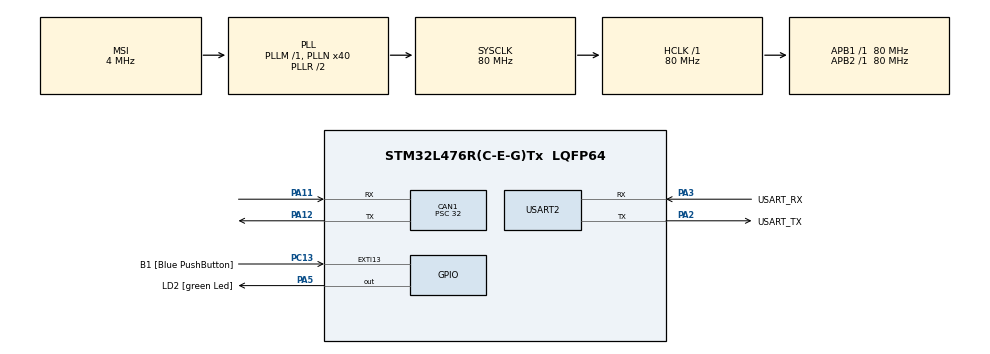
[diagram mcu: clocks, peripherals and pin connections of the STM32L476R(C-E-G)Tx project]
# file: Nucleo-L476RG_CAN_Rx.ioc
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CAN1.BS1=CAN_BS1_2TQ
CAN1.BS2=CAN_BS2_2TQ
CAN1.CalculateBaudRate=500000
CAN1.CalculateTimeBit=2000
CAN1.CalculateTimeQuantum=400.0
CAN1.Prescaler=32
Mcu.Family=STM32L4
Mcu.Name=STM32L476R(C-E-G)Tx
Mcu.Package=LQFP64
NVIC.CAN1_RX1_IRQn=true\:0\:0\:false\:false\:true\:true\:true\:true
NVIC.PriorityGroup=NVIC_PRIORITYGROUP_4
PA11.Mode=CAN_Activate
PA11.Signal=CAN1_RX
PA12.Mode=CAN_Activate
PA12.Signal=CAN1_TX
PA13\ (JTMS-SWDIO).GPIO_Label=TMS
PA13\ (JTMS-SWDIO).Mode=Serial_Wire
PA13\ (JTMS-SWDIO).Signal=SYS_JTMS-SWDIO
PA14\ (JTCK-SWCLK).GPIO_Label=TCK
PA14\ (JTCK-SWCLK).Mode=Serial_Wire
PA14\ (JTCK-SWCLK).Signal=SYS_JTCK-SWCLK
PA2.GPIO_Label=USART_TX
PA2.GPIO_Mode=GPIO_MODE_AF_PP
PA2.GPIO_PuPd=GPIO_NOPULL
PA2.GPIO_Speed=GPIO_SPEED_FREQ_VERY_HIGH
PA2.Mode=Asynchronous
PA2.Signal=USART2_TX
PA3.GPIO_Label=USART_RX
PA3.GPIO_Mode=GPIO_MODE_AF_PP
PA3.GPIO_PuPd=GPIO_NOPULL
PA3.GPIO_Speed=GPIO_SPEED_FREQ_VERY_HIGH
PA3.Mode=Asynchronous
PA3.Signal=USART2_RX
PA5.GPIO_Label=LD2 [green Led]
PA5.GPIO_ModeDefaultOutputPP=GPIO_MODE_OUTPUT_PP
PA5.GPIO_PuPd=GPIO_NOPULL
PA5.GPIO_Speed=GPIO_SPEED_FREQ_LOW
PA5.Signal=GPIO_Output
PB3\ (JTDO-TRACESWO).GPIO_Label=SWO
PB3\ (JTDO-TRACESWO).Signal=SYS_JTDO-SWO
PC13.GPIO_Label=B1 [Blue PushButton]
PC13.GPIO_ModeDefaultEXTI=GPIO_MODE_IT_FALLING
PC13.GPIO_PuPd=GPIO_NOPULL
PC13.Signal=GPXTI13
PC14-OSC32_IN\ (PC14).Mode=LSE-External-Oscillator
PC14-OSC32_IN\ (PC14).Signal=RCC_OSC32_IN
PC15-OSC32_OUT\ (PC15).Mode=LSE-External-Oscillator
PC15-OSC32_OUT\ (PC15).Signal=RCC_OSC32_OUT
PH0-OSC_IN\ (PH0).Signal=RCC_OSC_IN
PH1-OSC_OUT\ (PH1).Signal=RCC_OSC_OUT
ProjectManager.HeapSize=0x200
ProjectManager.StackSize=0x400
ProjectManager.TargetToolchain=STM32CubeIDE
RCC.ADCFreq_Value=16000000
RCC.AHBFreq_Value=80000000
RCC.APB1Freq_Value=80000000
RCC.APB1TimFreq_Value=80000000
RCC.APB2Freq_Value=80000000
RCC.APB2TimFreq_Value=80000000
RCC.CortexFreq_Value=80000000
RCC.HCLKFreq_Value=80000000
RCC.HSE_VALUE=8000000
RCC.HSI_VALUE=16000000
RCC.MSI_VALUE=4000000
RCC.PLLN=40
RCC.PREFETCH_ENABLE=1
RCC.SYSCLKFreq_VALUE=80000000
RCC.SYSCLKSource=RCC_SYSCLKSOURCE_PLLCLK
RCC.USBFreq_Value=16000000
RCC.VCOOutputFreq_Value=160000000
USART2.VirtualMode-Asynchronous=VM_ASYNC
board=NUCLEO-L476RG

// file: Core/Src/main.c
/* USER CODE BEGIN Header */
/**
  ******************************************************************************
  * @file           : main.c
  * @brief          : Main program body
  ******************************************************************************
  * @attention
  *
  * Copyright (c) 2024 STMicroelectronics.
  * All rights reserved.
  *
  * This software is licensed under terms that can be found in the LICENSE file
  * in the root directory of this software component.
  * If no LICENSE file comes with this software, it is provided AS-IS.
  *
  ******************************************************************************
  */
/* USER CODE END Header */
#include "main.h"

CAN_HandleTypeDef hcan1;

UART_HandleTypeDef huart2;

void SystemClock_Config(void);
static void MX_GPIO_Init(void);
static void MX_USART2_UART_Init(void);
static void MX_CAN1_Init(void);

/* USER CODE BEGIN 0 */

CAN_TxHeaderTypeDef TxHeader;
CAN_RxHeaderTypeDef RxHeader;

uint8_t TxData[8];
uint8_t RxData[8];

uint32_t TxMailbox;

int datacheck = 0;

void HAL_CAN_RxFifo1MsgPendingCallback(CAN_HandleTypeDef *hcan){
	HAL_CAN_GetRxMessage(hcan, CAN_RX_FIFO1, &RxHeader, RxData);
	if (RxHeader.DLC == 2){
		datacheck = 1;
	}
}

/* USER CODE END 0 */

int main(void)
{

  /* MCU Configuration--------------------------------------------------------*/

  /* Reset of all peripherals, Initializes the Flash interface and the Systick. */
  HAL_Init();

  /* Configure the system clock */
  SystemClock_Config();

  /* Initialize all configured peripherals */
  MX_GPIO_Init();
  MX_USART2_UART_Init();
  MX_CAN1_Init();
  /* USER CODE BEGIN 2 */

  HAL_CAN_Start(&hcan1);

  // Activate the notification
  HAL_CAN_ActivateNotification(&hcan1, CAN_IT_RX_FIFO1_MSG_PENDING);

  TxHeader.DLC = 2; // data length
  TxHeader.IDE = CAN_ID_STD;
  TxHeader.RTR = CAN_RTR_DATA;
  TxHeader.StdId = 0x103; // ID

  TxData[0] = 200; //ms delay
  TxData[1] = 20; //loop rep

  /* USER CODE END 2 */

  /* Infinite loop */
  while (1)
  {

    /* USER CODE BEGIN 3 */

	  HAL_Delay(1000);

	  if (datacheck){
		  // blink the LED
		  for (int i = 0; i<RxData[1]; i++){
//			  HAL_GPIO_WritePin(GPIOA, GPIO_PIN_5, 1);
			  HAL_GPIO_TogglePin(GPIOA, GPIO_PIN_5);
			  HAL_Delay(RxData[0]);
//			  HAL_GPIO_WritePin(GPIOA, GPIO_PIN_5, 0);
		  }

		  datacheck = 0;

//		  HAL_CAN_AddTxMessage(&hcan1, &TxHeader, TxData, &TxMailbox);
	  }
  }
  /* USER CODE END 3 */
}

void SystemClock_Config(void)
{
  RCC_OscInitTypeDef RCC_OscInitStruct = {0};
  RCC_ClkInitTypeDef RCC_ClkInitStruct = {0};

  /** Configure the main internal regulator output voltage
  */
  if (HAL_PWREx_ControlVoltageScaling(PWR_REGULATOR_VOLTAGE_SCALE1) != HAL_OK)
  {
    Error_Handler();
  }

  /** Configure LSE Drive Capability
  */
  HAL_PWR_EnableBkUpAccess();
  __HAL_RCC_LSEDRIVE_CONFIG(RCC_LSEDRIVE_LOW);

  /** Initializes the RCC Oscillators according to the specified parameters
  * in the RCC_OscInitTypeDef structure.
  */
  RCC_OscInitStruct.OscillatorType = RCC_OSCILLATORTYPE_LSE|RCC_OSCILLATORTYPE_MSI;
  RCC_OscInitStruct.LSEState = RCC_LSE_ON;
  RCC_OscInitStruct.MSIState = RCC_MSI_ON;
  RCC_OscInitStruct.MSICalibrationValue = 0;
  RCC_OscInitStruct.MSIClockRange = RCC_MSIRANGE_6;
  RCC_OscInitStruct.PLL.PLLState = RCC_PLL_ON;
  RCC_OscInitStruct.PLL.PLLSource = RCC_PLLSOURCE_MSI;
  RCC_OscInitStruct.PLL.PLLM = 1;
  RCC_OscInitStruct.PLL.PLLN = 40;
  RCC_OscInitStruct.PLL.PLLP = RCC_PLLP_DIV7;
  RCC_OscInitStruct.PLL.PLLQ = RCC_PLLQ_DIV2;
  RCC_OscInitStruct.PLL.PLLR = RCC_PLLR_DIV2;
  if (HAL_RCC_OscConfig(&RCC_OscInitStruct) != HAL_OK)
  {
    Error_Handler();
  }

  /** Initializes the CPU, AHB and APB buses clocks
  */
  RCC_ClkInitStruct.ClockType = RCC_CLOCKTYPE_HCLK|RCC_CLOCKTYPE_SYSCLK
                              |RCC_CLOCKTYPE_PCLK1|RCC_CLOCKTYPE_PCLK2;
  RCC_ClkInitStruct.SYSCLKSource = RCC_SYSCLKSOURCE_PLLCLK;
  RCC_ClkInitStruct.AHBCLKDivider = RCC_SYSCLK_DIV1;
  RCC_ClkInitStruct.APB1CLKDivider = RCC_HCLK_DIV1;
  RCC_ClkInitStruct.APB2CLKDivider = RCC_HCLK_DIV1;

  if (HAL_RCC_ClockConfig(&RCC_ClkInitStruct, FLASH_LATENCY_4) != HAL_OK)
  {
    Error_Handler();
  }

  /** Enable MSI Auto calibration
  */
  HAL_RCCEx_EnableMSIPLLMode();
}

static void MX_CAN1_Init(void)
{

  hcan1.Instance = CAN1;
  hcan1.Init.Prescaler = 32;
  hcan1.Init.Mode = CAN_MODE_NORMAL;
  hcan1.Init.SyncJumpWidth = CAN_SJW_1TQ;
  hcan1.Init.TimeSeg1 = CAN_BS1_2TQ;
  hcan1.Init.TimeSeg2 = CAN_BS2_2TQ;
  hcan1.Init.TimeTriggeredMode = DISABLE;
  hcan1.Init.AutoBusOff = DISABLE;
  hcan1.Init.AutoWakeUp = DISABLE;
  hcan1.Init.AutoRetransmission = DISABLE;
  hcan1.Init.ReceiveFifoLocked = DISABLE;
  hcan1.Init.TransmitFifoPriority = DISABLE;
  if (HAL_CAN_Init(&hcan1) != HAL_OK)
  {
    Error_Handler();
  }
  /* USER CODE BEGIN CAN1_Init 2 */

  CAN_FilterTypeDef canfilterconfig;

  canfilterconfig.FilterActivation = CAN_FILTER_ENABLE;
  canfilterconfig.FilterBank = 10;  // which filter bank to use from the assigned ones
  canfilterconfig.FilterFIFOAssignment = CAN_FILTER_FIFO1;
  canfilterconfig.FilterIdHigh = 0x446<<5; // ID of external MCU
  canfilterconfig.FilterIdLow = 0;
  canfilterconfig.FilterMaskIdHigh = 0x446<<5;
  canfilterconfig.FilterMaskIdLow = 0x0000;
  canfilterconfig.FilterMode = CAN_FILTERMODE_IDMASK;
  canfilterconfig.FilterScale = CAN_FILTERSCALE_32BIT;
  canfilterconfig.SlaveStartFilterBank = 0;  // doesn't matter in single CAN Controllers

  HAL_CAN_ConfigFilter(&hcan1, &canfilterconfig);

  /* USER CODE END CAN1_Init 2 */

}

static void MX_USART2_UART_Init(void)
{

  /* USER CODE BEGIN USART2_Init 0 */
//
  /* USER CODE END USART2_Init 0 */

  /* USER CODE BEGIN USART2_Init 1 */
//
  /* USER CODE END USART2_Init 1 */
  huart2.Instance = USART2;
  huart2.Init.BaudRate = 115200;
  huart2.Init.WordLength = UART_WORDLENGTH_8B;
  huart2.Init.StopBits = UART_STOPBITS_1;
  huart2.Init.Parity = UART_PARITY_NONE;
  huart2.Init.Mode = UART_MODE_TX_RX;
  huart2.Init.HwFlowCtl = UART_HWCONTROL_NONE;
  huart2.Init.OverSampling = UART_OVERSAMPLING_16;
  huart2.Init.OneBitSampling = UART_ONE_BIT_SAMPLE_DISABLE;
  huart2.AdvancedInit.AdvFeatureInit = UART_ADVFEATURE_NO_INIT;
  if (HAL_UART_Init(&huart2) != HAL_OK)
  {
    Error_Handler();
  }
  /* USER CODE BEGIN USART2_Init 2 */
//
  /* USER CODE END USART2_Init 2 */

}

static void MX_GPIO_Init(void)
{
  GPIO_InitTypeDef GPIO_InitStruct = {0};

  /* GPIO Ports Clock Enable */
  __HAL_RCC_GPIOC_CLK_ENABLE();
  __HAL_RCC_GPIOH_CLK_ENABLE();
  __HAL_RCC_GPIOA_CLK_ENABLE();
  __HAL_RCC_GPIOB_CLK_ENABLE();

  /*Configure GPIO pin Output Level */
  HAL_GPIO_WritePin(LD2_GPIO_Port, LD2_Pin, GPIO_PIN_RESET);

  /*Configure GPIO pin : B1_Pin */
  GPIO_InitStruct.Pin = B1_Pin;
  GPIO_InitStruct.Mode = GPIO_MODE_IT_FALLING;
  GPIO_InitStruct.Pull = GPIO_NOPULL;
  HAL_GPIO_Init(B1_GPIO_Port, &GPIO_InitStruct);

  /*Configure GPIO pin : LD2_Pin */
  GPIO_InitStruct.Pin = LD2_Pin;
  GPIO_InitStruct.Mode = GPIO_MODE_OUTPUT_PP;
  GPIO_InitStruct.Pull = GPIO_NOPULL;
  GPIO_InitStruct.Speed = GPIO_SPEED_FREQ_LOW;
  HAL_GPIO_Init(LD2_GPIO_Port, &GPIO_InitStruct);

}

void Error_Handler(void)
{
  __disable_irq();
  while (1)
  {
  }
}
